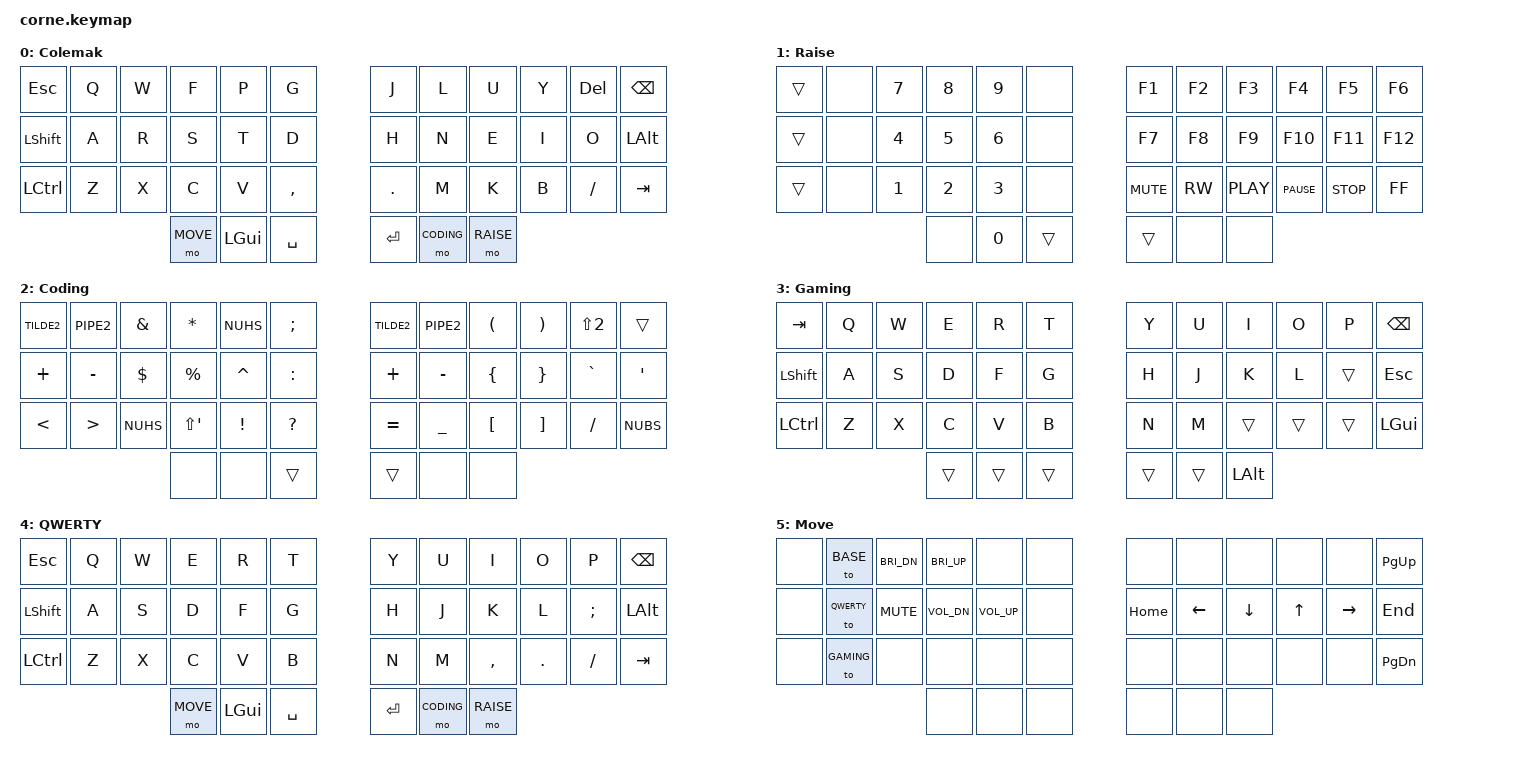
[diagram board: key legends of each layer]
#include <behaviors.dtsi>
#include <dt-bindings/zmk/keys.h>
#include <dt-bindings/zmk/bt.h>
#include <dt-bindings/zmk/outputs.h>

#define BASE   0
#define RAISE  1
#define CODING 2
#define GAMING 3
#define QWERTY 4
#define MOVE   5

/ {
    combos {
        compatible = "zmk,combos";

        caps_word {
            key-positions = <0 12>;
            bindings = <&caps_word>;
        };

        studio_unlock {
            key-positions = <36 41>;
            bindings = <&studio_unlock>;
        };

        del_combo {
            key-positions = <11 23>;
            bindings = <&kp DEL>;
        };
    };

    keymap {
        compatible = "zmk,keymap";

        colemak {
            display-name = "Colemak";
            bindings = <
        &kp ESC    &kp Q  &kp W  &kp F  &kp P  &kp G            &kp J    &kp L  &kp U  &kp Y  &kp DEL    &kp BSPC
        &kp LSHFT  &kp A  &kp R  &kp S  &kp T  &kp D            &kp H    &kp N  &kp E  &kp I  &kp O      &kp LALT
        &kp LCTRL  &kp Z  &kp X  &kp C  &kp V  &kp COMMA        &kp DOT  &kp M  &kp K  &kp B  &kp SLASH  &kp TAB
                                 &mo MOVE  &kp LGUI  &kp SPACE  &kp RET  &mo CODING  &mo RAISE
            >;
        };

        raise {
            display-name = "Raise";
            bindings = <
        &trans  &none  &kp N7  &kp N8  &kp N9  &none        &kp F1      &kp F2    &kp F3      &kp F4       &kp F5      &kp F6
        &trans  &none  &kp N4  &kp N5  &kp N6  &none        &kp F7      &kp F8    &kp F9      &kp F10      &kp F11     &kp F12
        &trans  &none  &kp N1  &kp N2  &kp N3  &none        &kp C_MUTE  &kp C_RW  &kp C_PLAY  &kp C_PAUSE  &kp C_STOP  &kp C_FF
                               &none   &kp N0  &trans       &trans      &none     &none
            >;
        };

        coding {
            display-name = "Coding";
            bindings = <
        &kp TILDE2  &kp PIPE2  &kp AMPS   &kp ASTRK  &kp NUHS     &kp SEMI         &kp TILDE2  &kp PIPE2   &kp LPAR   &kp RPAR   &kp LS(N2)  &trans
        &kp PLUS    &kp MINUS  &kp DLLR   &kp PRCNT  &kp CARET    &kp COLON        &kp PLUS    &kp MINUS   &kp LBRC   &kp RBRC   &kp GRAVE   &kp SQT
        &kp LT      &kp GT     &kp NUHS   &kp LS(SQT) &kp EXCL    &kp QMARK        &kp EQUAL   &kp UNDER   &kp LBKT   &kp RBKT   &kp SLASH   &kp NUBS
                                          &none      &none        &trans          &trans      &none       &none
            >;
        };

        gaming {
            display-name = "Gaming";
            bindings = <
        &kp TAB    &kp Q  &kp W  &kp E  &kp R  &kp T            &kp Y  &kp U  &kp I      &kp O    &kp P    &kp BSPC
        &kp LSHFT  &kp A  &kp S  &kp D  &kp F  &kp G            &kp H  &kp J  &kp K      &kp L    &trans   &kp ESC
        &kp LCTRL  &kp Z  &kp X  &kp C  &kp V  &kp B            &kp N  &kp M  &trans     &trans   &trans   &kp LGUI
                                 &trans  &trans  &trans         &trans  &trans  &kp LALT
            >;
        };

        qwerty {
            display-name = "QWERTY";
            bindings = <
        &kp ESC    &kp Q  &kp W  &kp E  &kp R  &kp T            &kp Y  &kp U  &kp I      &kp O    &kp P      &kp BSPC
        &kp LSHFT  &kp A  &kp S  &kp D  &kp F  &kp G            &kp H  &kp J  &kp K      &kp L    &kp SEMI   &kp LALT
        &kp LCTRL  &kp Z  &kp X  &kp C  &kp V  &kp B            &kp N  &kp M  &kp COMMA  &kp DOT  &kp SLASH  &kp TAB
                                 &mo MOVE  &kp LGUI  &kp SPACE  &kp RET  &mo CODING  &mo RAISE
            >;
        };

        move {
            display-name = "Move";
            bindings = <
        &none  &to BASE    &kp C_BRI_DN  &kp C_BRI_UP  &none         &none        &none     &none     &none    &none      &none  &kp PG_UP
        &none  &to QWERTY  &kp C_MUTE    &kp C_VOL_DN  &kp C_VOL_UP  &none        &kp HOME  &kp LEFT  &kp DOWN  &kp UP    &kp RIGHT  &kp END
        &none  &to GAMING  &none         &none         &none         &none        &none     &none     &none    &none      &none  &kp PG_DN
                                         &none         &none         &none        &none     &none     &none
            >;
        };
    };
};
